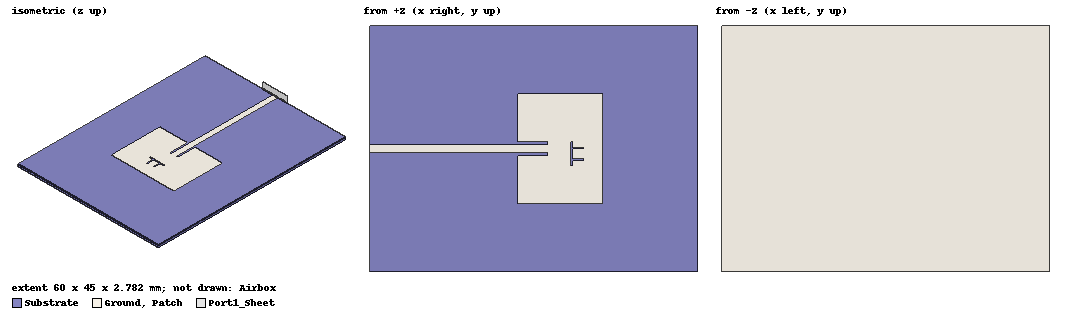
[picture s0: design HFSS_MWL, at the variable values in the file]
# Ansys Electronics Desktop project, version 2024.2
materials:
  vacuum: permittivity=1
  RO4350B: permittivity=3.48 permeability=1 dielectric_loss_tangent=0.0037
  pec: conductivity=1e+30
  air: permittivity=1.0006 permeability=1.0000004

design HFSS_MWL (HFSS, HFSS Terminal Network, model units mm)
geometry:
  Substrate [RO4350B] = box(corner=(-30mm, -22.5mm, 0mm), size=(60mm, 45mm, 0.762mm))
  Ground [pec] = rectangle(corner=(-30mm, -22.5mm, 0mm), x_size=60mm, y_size=45mm)
  Patch [pec] = rectangle(corner=(-2.99995mm, -10.01535mm, 0.762mm), x_size=15.5383mm, y_size=20.0307mm)
  Feed = rectangle(corner=(-30mm, -0.7991mm, 0.762mm), x_size=32.58775mm, y_size=1.5982mm)
  Patch.unite(Feed)
  TopCut_0_inset_gap_top = rectangle(corner=(-2.99995mm, 0.7991mm, 0.762mm), x_size=5.5877mm, y_size=0.4795mm)
  TopCut_1_inset_gap_bottom = rectangle(corner=(-2.99995mm, -1.2786mm, 0.762mm), x_size=5.5877mm, y_size=0.4795mm)
  TopCut_2_e_main = rectangle(corner=(6.8368013mm, -3.1866425mm, 0.762mm), x_size=0.33270085mm, y_size=4.4947883mm)
  TopCut_3_e_branch_0 = rectangle(corner=(7.0031517mm, -2.1292929mm, 0.762mm), x_size=2.1480547mm, y_size=0.33270085mm)
  TopCut_4_e_branch_1 = rectangle(corner=(7.0031517mm, -0.081904544mm, 0.762mm), x_size=2.1480547mm, y_size=0.33270085mm)
  Patch.subtract(TopCut_0_inset_gap_top, TopCut_1_inset_gap_bottom, TopCut_2_e_main, TopCut_3_e_branch_0, TopCut_4_e_branch_1)
  Airbox [air] = box(corner=(-30mm, -42.5mm, -20mm), size=(80mm, 85mm, 40.762mm))
  Port1_Sheet = rectangle(corner=(-30mm, -3.9955mm, -0.02mm), y_size=7.991mm, z_size=2.782mm)
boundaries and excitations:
  Copper_PEC: Perfect E Objects=[Ground, Patch]
  Radiation: Radiation Objects=Airbox
  Port1: Wave Port Objects=Port1_Sheet WavePortType=Modal NumModes=1 Modes{Mode1{CharImp=Zpi RenormImp=50ohm}}
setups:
  Setup1: HfssDriven Frequency=5GHz MaxDeltaS=0.02 MaximumPasses=10 MinimumPasses=1 MinimumConvergedPasses=1 PercentRefinement=30 BasisOrder=1 PortAccuracy=2 DrivenSolverType="Direct Solver"
    sweep Sweep_4_6GHz: 4GHz to 6GHz, 101 points; Type=Interpolating SaveRadFields InterpTolerance=0.5 InterpMaxSolns=250 InterpUsePortImped=false PassivityErrorTolerance=0.0001
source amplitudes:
  Port1:1: 1V 0deg
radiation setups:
  InfiniteSphere_EH_Cuts: Infinite Sphere Theta=-180deg..180deg step 1deg Phi=-90deg..90deg step 90deg
